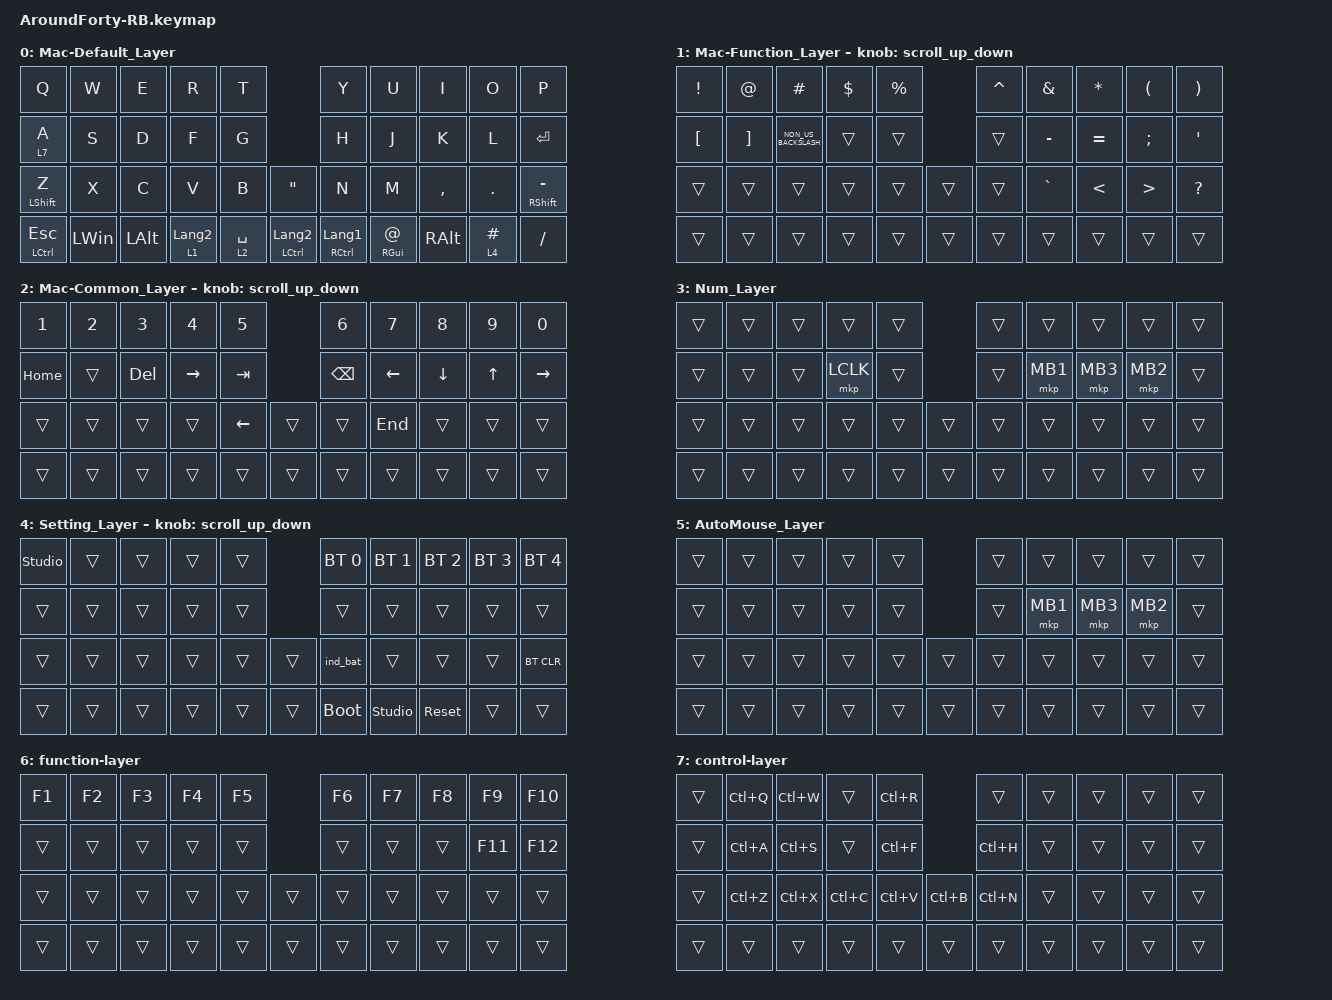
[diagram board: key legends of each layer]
#define ZMK_POINTING_DEFAULT_SCRL_VAL 100
#define MOUSE 6

#include <behaviors/rgbled_widget.dtsi>  // needed to use the behaviors
#include <behaviors.dtsi>
#include <dt-bindings/zmk/bt.h>
#include <dt-bindings/zmk/keys.h>
#include <dt-bindings/zmk/pointing.h>

&mt {
    flavor = "balanced";
    quick-tap-ms = <0>;
};

/ {
    combos {
        compatible = "zmk,combos";

        ctrl {
            bindings = <&kp LS(LEFT_CONTROL)>;
            key-positions = <10 20>;
        };
    };

    macros {
        to_layer_0: to_layer_0 {
            compatible = "zmk,behavior-macro-one-param";
            #binding-cells = <1>;
            bindings = <&to 0 &macro_param_1to1 &kp MACRO_PLACEHOLDER>;
            label = "TO_LAYER_0";
        };
    };

    behaviors {
        lt_to_layer_0: lt_to_layer_0 {
            compatible = "zmk,behavior-hold-tap";
            label = "LAYER_TAP_TO_0";
            bindings = <&mo>, <&to_layer_0>;

            #binding-cells = <2>;
            tapping-term-ms = <200>;
        };

        scroll_up_down: behavior_sensor_rotate_mouse_wheel_up_down {
            compatible = "zmk,behavior-sensor-rotate";
            #sensor-binding-cells = <0>;
            bindings = <&msc SCRL_UP>, <&msc SCRL_DOWN>;

            tap-ms = <20>;
        };
    };

    keymap {
        compatible = "zmk,keymap";

        Mac-Default_Layer {
            bindings = <
&kp Q             &kp W         &kp E         &kp R             &kp T                                     &kp Y                         &kp U                  &kp I          &kp O       &kp P
&lt 7 A           &kp S         &kp D         &kp F             &kp G                                     &kp H                         &kp J                  &kp K          &kp L       &kp ENTER
&mt LEFT_SHIFT Z  &kp X         &kp C         &kp V             &kp B        &kp DOUBLE_QUOTES            &kp N                         &kp M                  &kp COMMA      &kp PERIOD  &mt RIGHT_SHIFT MINUS
&mt LCTRL ESCAPE  &kp LEFT_WIN  &kp LEFT_ALT  &lt 1 LANGUAGE_2  &lt 2 SPACE  &mt LEFT_CONTROL LANGUAGE_2  &mt RIGHT_CONTROL LANGUAGE_1  &mt RIGHT_GUI AT_SIGN  &kp RIGHT_ALT  &lt 4 HASH  &kp SLASH
            >;
        };

        Mac-Function_Layer {
            bindings = <
&kp EXCLAMATION   &kp AT_SIGN        &kp HASH              &kp DOLLAR  &kp PERCENT          &kp CARET  &kp AMPERSAND  &kp ASTERISK   &kp LEFT_PARENTHESIS  &kp RIGHT_PARENTHESIS
&kp LEFT_BRACKET  &kp RIGHT_BRACKET  &kp NON_US_BACKSLASH  &trans      &trans               &trans     &kp MINUS      &kp EQUAL      &kp SEMICOLON         &kp SQT
&trans            &trans             &trans                &trans      &trans       &trans  &trans     &kp GRAVE      &kp LESS_THAN  &kp GREATER_THAN      &kp QUESTION
&trans            &trans             &trans                &trans      &trans       &trans  &trans     &trans         &trans         &trans                &trans
            >;

            sensor-bindings = <&scroll_up_down>;
        };

        Mac-Common_Layer {
            bindings = <
&kp NUMBER_1  &kp NUMBER_2  &kp NUMBER_3  &kp NUMBER_4  &kp NUMBER_5          &kp NUMBER_6   &kp NUMBER_7    &kp NUMBER_8  &kp NUMBER_9  &kp NUMBER_0
&kp HOME      &trans        &kp DELETE    &kp RIGHT     &kp TAB               &kp BACKSPACE  &kp LEFT_ARROW  &kp DOWN      &kp UP_ARROW  &kp RIGHT
&trans        &trans        &trans        &trans        &kp LEFT      &trans  &trans         &kp END         &trans        &trans        &trans
&trans        &trans        &trans        &trans        &trans        &trans  &trans         &trans          &trans        &trans        &trans
            >;

            sensor-bindings = <&scroll_up_down>;
        };

        Num_Layer {
            bindings = <
&trans  &trans  &trans  &trans     &trans          &trans  &trans    &trans    &trans    &trans
&trans  &trans  &trans  &mkp LCLK  &trans          &trans  &mkp MB1  &mkp MB3  &mkp MB2  &trans
&trans  &trans  &trans  &trans     &trans  &trans  &trans  &trans    &trans    &trans    &trans
&trans  &trans  &trans  &trans     &trans  &trans  &trans  &trans    &trans    &trans    &trans
            >;
        };

        Setting_Layer {
            bindings = <
&studio_unlock  &trans  &trans  &trans  &trans          &bt BT_SEL 0  &bt BT_SEL 1    &bt BT_SEL 2  &bt BT_SEL 3  &bt BT_SEL 4
&trans          &trans  &trans  &trans  &trans          &trans        &trans          &trans        &trans        &trans
&trans          &trans  &trans  &trans  &trans  &trans  &ind_bat      &trans          &trans        &trans        &bt BT_CLR
&trans          &trans  &trans  &trans  &trans  &trans  &bootloader   &studio_unlock  &sys_reset    &trans        &trans
            >;

            sensor-bindings = <&scroll_up_down>;
        };

        AutoMouse_Layer {
            bindings = <
&trans  &trans  &trans  &trans  &trans          &trans  &trans    &trans    &trans    &trans
&trans  &trans  &trans  &trans  &trans          &trans  &mkp MB1  &mkp MB3  &mkp MB2  &trans
&trans  &trans  &trans  &trans  &trans  &trans  &trans  &trans    &trans    &trans    &trans
&trans  &trans  &trans  &trans  &trans  &trans  &trans  &trans    &trans    &trans    &trans
            >;
        };

        function-layer {
            bindings = <
&kp F1  &kp F2  &kp F3  &kp F4  &kp F5          &kp F6  &kp F7  &kp F8  &kp F9   &kp F10
&trans  &trans  &trans  &trans  &trans          &trans  &trans  &trans  &kp F11  &kp F12
&trans  &trans  &trans  &trans  &trans  &trans  &trans  &trans  &trans  &trans   &trans
&trans  &trans  &trans  &trans  &trans  &trans  &trans  &trans  &trans  &trans   &trans
            >;
        };

        control-layer {
            bindings = <
&trans  &kp LC(Q)  &kp LC(W)  &trans     &kp LC(R)             &trans     &trans  &trans  &trans  &trans
&trans  &kp LC(A)  &kp LC(S)  &trans     &kp LC(F)             &kp LC(H)  &trans  &trans  &trans  &trans
&trans  &kp LC(Z)  &kp LC(X)  &kp LC(C)  &kp LC(V)  &kp LC(B)  &kp LC(N)  &trans  &trans  &trans  &trans
&trans  &trans     &trans     &trans     &trans     &trans     &trans     &trans  &trans  &trans  &trans
            >;
        };
    };

    conditional_layers {
        compatible = "zmk,conditional-layers";

        function {
            if-layers = <1 2>;
            then-layer = <6>;
        };
    };
};
